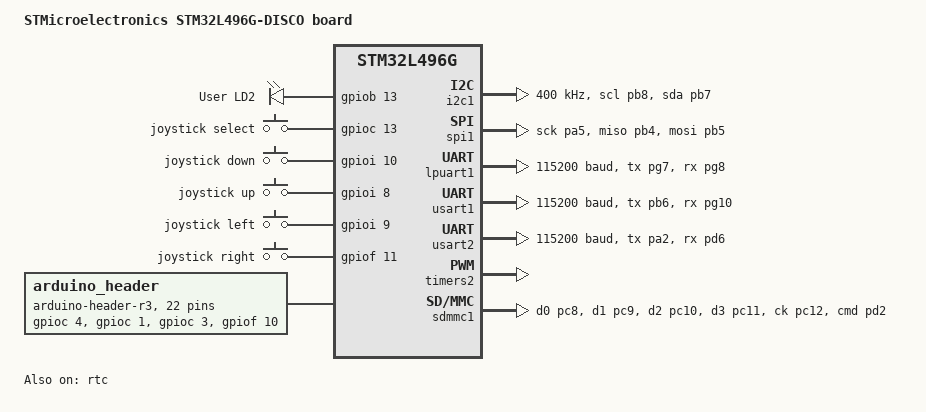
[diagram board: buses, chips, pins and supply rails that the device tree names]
/*
 * Copyright (c) 2017 Linaro Limited
 *
 * SPDX-License-Identifier: Apache-2.0
 */

/dts-v1/;
#include <st/l4/stm32l496Xg.dtsi>
#include <st/l4/stm32l496a(e-g)ix-pinctrl.dtsi>

/ {
	model = "STMicroelectronics STM32L496G-DISCO board";
	compatible = "st,stm32l496g-disco";

	chosen {
		zephyr,console = &usart2;
		zephyr,shell-uart = &usart2;
		zephyr,sram = &sram0;
		zephyr,flash = &flash0;
	};

	leds {
		compatible = "gpio-leds";
		green_led_2: led_2 {
			gpios = <&gpiob 13 GPIO_ACTIVE_HIGH>;
			label = "User LD2";
		};
	};

	gpio_keys {
		compatible = "gpio-keys";
		joy_sel: joystick_select {
			label = "joystick select";
			gpios = <&gpioc 13 (GPIO_ACTIVE_HIGH | GPIO_PULL_DOWN)>;
		};
		joy_down: joystick_down {
			label = "joystick down";
			gpios = <&gpioi 10 (GPIO_ACTIVE_HIGH | GPIO_PULL_DOWN)>;
		};
		joy_up: joystick_up {
			label = "joystick up";
			gpios = <&gpioi 8 (GPIO_ACTIVE_HIGH | GPIO_PULL_DOWN)>;
		};
		joy_left: joystick_left {
			label = "joystick left";
			gpios = <&gpioi 9 (GPIO_ACTIVE_HIGH | GPIO_PULL_DOWN)>;
		};
		joy_right: joystick_right {
			label = "joystick right";
			gpios = <&gpiof 11 (GPIO_ACTIVE_HIGH | GPIO_PULL_DOWN)>;
		};
	};

	aliases {
		led0 = &green_led_2;
		sw0 = &joy_sel;
	};

	arduino_header: connector {
			compatible = "arduino-header-r3";
			
			#gpio-cells = <2>;
			
			gpio-map-mask = <0xffffffff 0xffffffc0>;
			gpio-map-pass-thru = <0 0x3f>;
			gpio-map = 
				<0 0 &gpioc 4 0>,    // A0
				<1 0 &gpioc 1 0>,    // A1 
				<2 0 &gpioc 3 0>,    // A2 
				<3 0 &gpiof 10 0>,   // A3 
				<4 0 &gpioa 1 0>,    // A4 
				<5 0 &gpioc 0 0>,    // A5 
				<6 0 &gpiog 8 0>,    // D0 ; Also Arduino's LPUART
				<7 0 &gpiog 7 0>,    // D1 ; Also Arduino's LPUART
				<8 0 &gpiog 13 0>,   // D2 
				<9 0 &gpioh 15 0>,   // D3 
				<10 0 &gpioi 11 0>,  // D4 
				<11 0 &gpiob 9 0>,   // D5 
				<12 0 &gpioi 6 0>,   // D6 
				<13 0 &gpiog 6 0>,   // D7 
				<14 0 &gpiog 15 0>,  // D8 
				<15 0 &gpioh 13 0>,  // D9 
				<16 0 &gpioa 15 0>,  // D10 ; Also Arduino's SPI
				<17 0 &gpiob 5 0>,   // D11 ; Also Arduino's SPI
				<18 0 &gpiob 4 0>,   // D12 ; Also Arduino's SPI
				<19 0 &gpioa 5 0>,   // D13 ; Also Arduino's SPI
				<20 0 &gpiob 7 0>,   // D14 ; Also Arduino's I2C
				<21 0 &gpiob 8 0>;   // D15 ; Also Arduino's I2C
		};


};

arduino_i2c: &i2c1 {};
arduino_spi: &spi1 {};
arduino_serial: &lpuart1 {};

stmod_usart: &usart1 {};            // The STMOD are using UART_1


&usart1 {
	pinctrl-0 = <&usart1_tx_pb6 &usart1_rx_pg10>;
	current-speed = <115200>;
	status = "okay";
};

&usart2 {
	pinctrl-0 = <&usart2_tx_pa2 &usart2_rx_pd6>;
	current-speed = <115200>;
	status = "okay";
};

&lpuart1 {
	pinctrl-0 = <&lpuart1_tx_pg7 &lpuart1_rx_pg8>;
	current-speed = <115200>;
	status = "okay";
};

&timers2 {
	status = "okay";

	pwm2: pwm {
		status = "okay";
		pinctrl-0 = <&tim2_ch1_pa0>;
	};
};

&i2c1 {
	pinctrl-0 = <&i2c1_scl_pb8 &i2c1_sda_pb7>;
	status = "okay";
	clock-frequency = <I2C_BITRATE_FAST>;
};

&spi1 {
	pinctrl-0 = <&spi1_sck_pa5 &spi1_miso_pb4 &spi1_mosi_pb5>;
	status = "okay";
};

&rtc {
	status = "okay";
};

&sdmmc1 {
	pinctrl-0 = <&sdmmc1_d0_pc8 &sdmmc1_d1_pc9
		     &sdmmc1_d2_pc10 &sdmmc1_d3_pc11
		     &sdmmc1_ck_pc12 &sdmmc1_cmd_pd2>;
	status = "okay";
};
